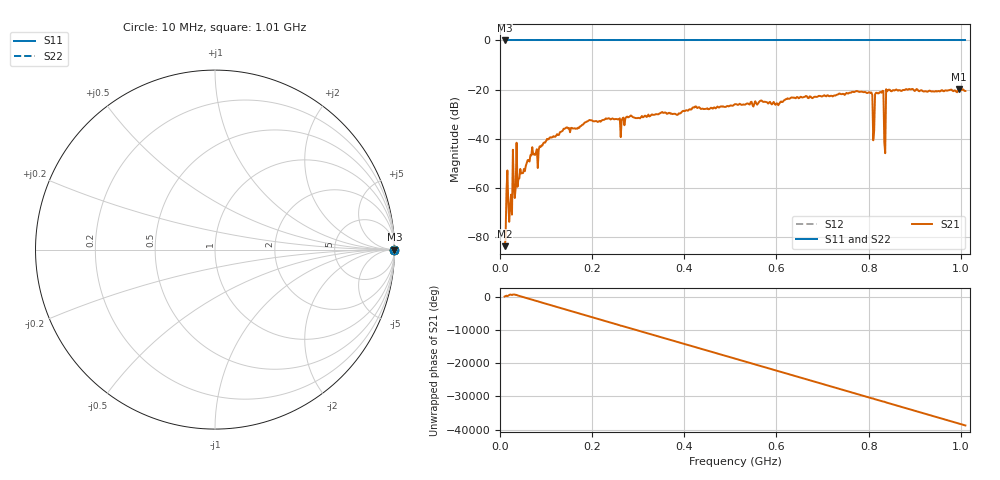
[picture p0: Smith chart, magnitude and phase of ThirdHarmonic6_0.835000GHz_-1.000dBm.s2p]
! 8/16/2025 3:42:35 AM
! C:\ANRITSUVNA\TEMP\TEMP.S2P
! CHANNEL.1
! TR.MEASUREMENT
! RAW.DATA
! RF.CORRECTION.OFF
! AVERAGING.OFF
! IF.BANDWIDTH: 5KHZ
! SWEEPTYPE:  FREQ.SWEEP(Linear)
! Reference Plane Port Info
! PORT:  PORT1  PORT2
! DISTANCE:  0  m  0  m
! TIME:  0  s  0  s
! PHASE.OFFSET:  0  deg.  0  deg.
! LOSS:  0  dB  0  dB
! REF.LOSS:  0  dB  0  dB
! REF.FREQ:  0  Hz  0  Hz
! Power Info
! POWER:  -20  dBm  -20  dBm
! EFF.POWER:  -20  dBm  -20  dBm
! SOURCE.ATTEN:  0  dB  0  dB
! TEST.ATTEN:  0  dB  0  dB
# GHZ S RI R 50.0
! FREQ.GHZ  S11RE  S11IM  S21RE  S21IM  S12RE  S12IM  S22RE  S22IM
!; PortSelection: Port_12
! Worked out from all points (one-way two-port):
!   501 points, 10 MHz to 1.01 GHz, reference 50 ohm
!   highest |S21| = -19.69 dB at 996 MHz (marker M1); lowest = -83.6 dB at 10 MHz (marker M2)
!   lowest |S11| = 0.0 dB at 10 MHz (marker M3)
!   |S11| at or under -10 dB: nowhere
!   |S22| runs from 0.0 to 0.0 dB; largest |S21 - S12| = 1.1
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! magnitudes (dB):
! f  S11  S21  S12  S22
! 10 MHz  0.0  -83.6  0.0  0.0
! 14 MHz  0.0  -61.5  0.0  0.0
! 18 MHz  0.0  -66.2  0.0  0.0
! 22 MHz  0.0  -67.0  0.0  0.0
! 30 MHz  0.0  -59.3  0.0  0.0
! 32 MHz  0.0  -64.0  0.0  0.0
! 42 MHz  0.0  -56.1  0.0  0.0
! 106 MHz  0.0  -40.0  0.0  0.0
! 178 MHz  0.0  -34.4  0.0  0.0
! 344 MHz  0.0  -30.0  0.0  0.0
! 510 MHz  0.0  -25.9  0.0  0.0
! 678 MHz  0.0  -23.4  0.0  0.0
! 802 MHz  0.0  -21.0  0.0  0.0
! 812 MHz  0.0  -36.7  0.0  0.0
! 818 MHz  0.0  -21.3  0.0  0.0
! 828 MHz  0.0  -21.3  0.0  0.0
! 832 MHz  0.0  -20.6  0.0  0.0
! 838 MHz  0.0  -19.8  0.0  0.0
! 842 MHz  0.0  -20.2  0.0  0.0
! 844 MHz  0.0  -20.0  0.0  0.0
! 996 MHz  0.0  -19.7  0.0  0.0
! 1.01 GHz  0.0  -20.5  0.0  0.0
